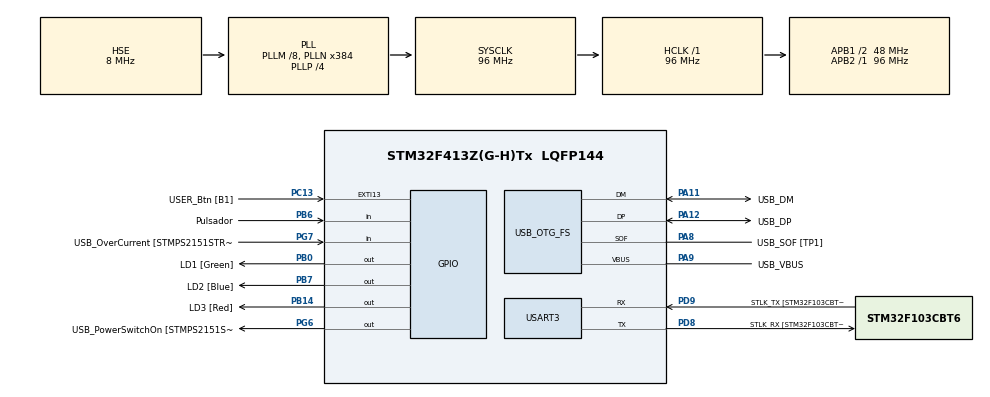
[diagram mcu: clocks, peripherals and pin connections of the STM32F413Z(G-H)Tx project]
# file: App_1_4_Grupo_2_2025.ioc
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Mcu.Family=STM32F4
Mcu.Name=STM32F413Z(G-H)Tx
Mcu.Package=LQFP144
NVIC.PriorityGroup=NVIC_PRIORITYGROUP_4
PA10.GPIO_Label=USB_ID
PA10.Signal=USB_OTG_FS_ID
PA11.GPIO_Label=USB_DM
PA11.Mode=Device_Only
PA11.Signal=USB_OTG_FS_DM
PA12.GPIO_Label=USB_DP
PA12.Mode=Device_Only
PA12.Signal=USB_OTG_FS_DP
PA13.GPIO_Label=TMS
PA13.Mode=Serial_Wire
PA13.Signal=SYS_JTMS-SWDIO
PA14.GPIO_Label=TCK
PA14.Mode=Serial_Wire
PA14.Signal=SYS_JTCK-SWCLK
PA8.GPIO_Label=USB_SOF [TP1]
PA8.Mode=Activate_SOF_FS
PA8.Signal=USB_OTG_FS_SOF
PA9.GPIO_Label=USB_VBUS
PA9.Mode=Activate_VBUS
PA9.Signal=USB_OTG_FS_VBUS
PB0.GPIO_Label=LD1 [Green]
PB0.Signal=GPIO_Output
PB14.GPIO_Label=LD3 [Red]
PB14.Signal=GPIO_Output
PB3.GPIO_Label=SWO
PB3.Signal=SYS_JTDO-SWO
PB6.GPIO_Label=Pulsador
PB6.Signal=GPIO_Input
PB7.GPIO_Label=LD2 [Blue]
PB7.Signal=GPIO_Output
PC13.GPIO_Label=USER_Btn [B1]
PC13.Signal=GPXTI13
PC14-OSC32_IN.Mode=LSE-External-Oscillator
PC14-OSC32_IN.Signal=RCC_OSC32_IN
PC15-OSC32_OUT.Mode=LSE-External-Oscillator
PC15-OSC32_OUT.Signal=RCC_OSC32_OUT
PD8.GPIO_Label=STLK_RX [STM32F103CBT6_PA3]
PD8.Mode=Asynchronous
PD8.Signal=USART3_TX
PD9.GPIO_Label=STLK_TX [STM32F103CBT6_PA2]
PD9.Mode=Asynchronous
PD9.Signal=USART3_RX
PG6.GPIO_Label=USB_PowerSwitchOn [STMPS2151STR_EN]
PG6.Signal=GPIO_Output
PG7.GPIO_Label=USB_OverCurrent [STMPS2151STR_FAULT]
PG7.Signal=GPIO_Input
PH0\ -\ OSC_IN.GPIO_Label=MCO
PH0\ -\ OSC_IN.Mode=HSE-External-Clock-Source
PH0\ -\ OSC_IN.Signal=RCC_OSC_IN
PH1\ -\ OSC_OUT.Mode=HSE-External-Clock-Source
PH1\ -\ OSC_OUT.Signal=RCC_OSC_OUT
ProjectManager.HeapSize=0x200
ProjectManager.StackSize=0x400
ProjectManager.TargetToolchain=STM32CubeIDE
RCC.48MHZClocksFreq_Value=24000000
RCC.AHBFreq_Value=96000000
RCC.APB1CLKDivider=RCC_HCLK_DIV2
RCC.APB1Freq_Value=48000000
RCC.APB1TimFreq_Value=96000000
RCC.APB2Freq_Value=96000000
RCC.APB2TimFreq_Value=96000000
RCC.CortexFreq_Value=96000000
RCC.HCLKFreq_Value=96000000
RCC.HSE_VALUE=8000000
RCC.HSI_VALUE=16000000
RCC.PLLM=8
RCC.PLLMUL=RCC_PLL_MUL9
RCC.PLLN=384
RCC.PLLP=RCC_PLLP_DIV4
RCC.PLLQ=8
RCC.PRESCALERUSB=RCC_USBCLKSOURCE_PLL_DIV1_5
RCC.SYSCLKFreq_VALUE=96000000
RCC.SYSCLKSource=RCC_SYSCLKSOURCE_PLLCLK
RCC.SYSCLKSourceVirtual=RCC_SYSCLKSOURCE_PLLCLK
RCC.USBFreq_Value=48000000
RCC.VCOOutputFreq_Value=384000000
USART3.VirtualMode=VM_ASYNC
USB_OTG_FS.VirtualMode=Device_Only
board=NUCLEO-F413ZH

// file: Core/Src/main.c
/* USER CODE BEGIN Header */
/**
  ******************************************************************************
  * @file           : main.c
  * @brief          : Main program body
  ******************************************************************************
  * @attention
  *
  * Copyright (c) 2025 STMicroelectronics.
  * All rights reserved.
  *
  * This software is licensed under terms that can be found in the LICENSE file
  * in the root directory of this software component.
  * If no LICENSE file comes with this software, it is provided AS-IS.
  *
  ******************************************************************************
  */
/* USER CODE END Header */
#include "main.h"

/* USER CODE BEGIN Includes */
uint8_t secuencia = 1;
/* USER CODE END Includes */

UART_HandleTypeDef huart3;

PCD_HandleTypeDef hpcd_USB_OTG_FS;

void SystemClock_Config(void);
static void MX_GPIO_Init(void);
static void MX_USART3_UART_Init(void);
static void MX_USB_OTG_FS_PCD_Init(void);

int main(void)
{

  /* MCU Configuration--------------------------------------------------------*/

  /* Reset of all peripherals, Initializes the Flash interface and the Systick. */
  HAL_Init();

  /* Configure the system clock */
  SystemClock_Config();

  /* Initialize all configured peripherals */
  MX_GPIO_Init();
  MX_USART3_UART_Init();
  MX_USB_OTG_FS_PCD_Init();

  /* Infinite loop */
  while (1)
  {

    /* USER CODE BEGIN 3 */
	  switch(secuencia){
	 	  	       case 1:HAL_GPIO_TogglePin(GPIOB, LD1_Pin|LD2_Pin|LD3_Pin);
	 	  	              HAL_Delay(100);
	 	  	              break;
	 	  	       case 2:HAL_GPIO_TogglePin(GPIOB, LD1_Pin|LD2_Pin|LD3_Pin);
	 	  	              HAL_Delay(250);
	 	  	              break;
	 	  	       case 3:HAL_GPIO_TogglePin(GPIOB, LD1_Pin|LD2_Pin|LD3_Pin);
	 	                  HAL_Delay(550);
	 	  	              break;
	 	  	       case 4:HAL_GPIO_TogglePin(GPIOB, LD1_Pin|LD2_Pin|LD3_Pin);
	                      HAL_Delay(1000);
	 	  	              break;
	                }
	 	  	if(HAL_GPIO_ReadPin(GPIOB, Pulsador_Pin) == GPIO_PIN_SET){
	 	  		  		  secuencia = secuencia  + 1;
	 	  		  		  HAL_Delay(200); //Eliminamos el rebote del pulsador
	 	  		  		  if(secuencia==5){
	 	  		  			    secuencia = 1;
	 	  		  			    HAL_GPIO_WritePin(GPIOB, LD1_Pin|LD2_Pin|LD3_Pin , GPIO_PIN_RESET);
	 	  		  		  }
	 	  		  }
  }
  /* USER CODE END 3 */
}

void SystemClock_Config(void)
{
  RCC_OscInitTypeDef RCC_OscInitStruct = {0};
  RCC_ClkInitTypeDef RCC_ClkInitStruct = {0};

  /** Configure the main internal regulator output voltage
  */
  __HAL_RCC_PWR_CLK_ENABLE();
  __HAL_PWR_VOLTAGESCALING_CONFIG(PWR_REGULATOR_VOLTAGE_SCALE1);

  /** Initializes the RCC Oscillators according to the specified parameters
  * in the RCC_OscInitTypeDef structure.
  */
  RCC_OscInitStruct.OscillatorType = RCC_OSCILLATORTYPE_HSE;
  RCC_OscInitStruct.HSEState = RCC_HSE_BYPASS;
  RCC_OscInitStruct.PLL.PLLState = RCC_PLL_ON;
  RCC_OscInitStruct.PLL.PLLSource = RCC_PLLSOURCE_HSE;
  RCC_OscInitStruct.PLL.PLLM = 8;
  RCC_OscInitStruct.PLL.PLLN = 384;
  RCC_OscInitStruct.PLL.PLLP = RCC_PLLP_DIV4;
  RCC_OscInitStruct.PLL.PLLQ = 8;
  RCC_OscInitStruct.PLL.PLLR = 2;
  if (HAL_RCC_OscConfig(&RCC_OscInitStruct) != HAL_OK)
  {
    Error_Handler();
  }

  /** Initializes the CPU, AHB and APB buses clocks
  */
  RCC_ClkInitStruct.ClockType = RCC_CLOCKTYPE_HCLK|RCC_CLOCKTYPE_SYSCLK
                              |RCC_CLOCKTYPE_PCLK1|RCC_CLOCKTYPE_PCLK2;
  RCC_ClkInitStruct.SYSCLKSource = RCC_SYSCLKSOURCE_PLLCLK;
  RCC_ClkInitStruct.AHBCLKDivider = RCC_SYSCLK_DIV1;
  RCC_ClkInitStruct.APB1CLKDivider = RCC_HCLK_DIV2;
  RCC_ClkInitStruct.APB2CLKDivider = RCC_HCLK_DIV1;

  if (HAL_RCC_ClockConfig(&RCC_ClkInitStruct, FLASH_LATENCY_3) != HAL_OK)
  {
    Error_Handler();
  }
}

static void MX_USART3_UART_Init(void)
{

  huart3.Instance = USART3;
  huart3.Init.BaudRate = 115200;
  huart3.Init.WordLength = UART_WORDLENGTH_8B;
  huart3.Init.StopBits = UART_STOPBITS_1;
  huart3.Init.Parity = UART_PARITY_NONE;
  huart3.Init.Mode = UART_MODE_TX_RX;
  huart3.Init.HwFlowCtl = UART_HWCONTROL_NONE;
  huart3.Init.OverSampling = UART_OVERSAMPLING_16;
  if (HAL_UART_Init(&huart3) != HAL_OK)
  {
    Error_Handler();
  }

}

static void MX_USB_OTG_FS_PCD_Init(void)
{

  hpcd_USB_OTG_FS.Instance = USB_OTG_FS;
  hpcd_USB_OTG_FS.Init.dev_endpoints = 6;
  hpcd_USB_OTG_FS.Init.speed = PCD_SPEED_FULL;
  hpcd_USB_OTG_FS.Init.dma_enable = DISABLE;
  hpcd_USB_OTG_FS.Init.phy_itface = PCD_PHY_EMBEDDED;
  hpcd_USB_OTG_FS.Init.Sof_enable = ENABLE;
  hpcd_USB_OTG_FS.Init.low_power_enable = DISABLE;
  hpcd_USB_OTG_FS.Init.lpm_enable = DISABLE;
  hpcd_USB_OTG_FS.Init.battery_charging_enable = ENABLE;
  hpcd_USB_OTG_FS.Init.vbus_sensing_enable = ENABLE;
  hpcd_USB_OTG_FS.Init.use_dedicated_ep1 = DISABLE;
  if (HAL_PCD_Init(&hpcd_USB_OTG_FS) != HAL_OK)
  {
    Error_Handler();
  }

}

static void MX_GPIO_Init(void)
{
  GPIO_InitTypeDef GPIO_InitStruct = {0};

  /* GPIO Ports Clock Enable */
  __HAL_RCC_GPIOC_CLK_ENABLE();
  __HAL_RCC_GPIOH_CLK_ENABLE();
  __HAL_RCC_GPIOB_CLK_ENABLE();
  __HAL_RCC_GPIOD_CLK_ENABLE();
  __HAL_RCC_GPIOG_CLK_ENABLE();
  __HAL_RCC_GPIOA_CLK_ENABLE();

  /*Configure GPIO pin Output Level */
  HAL_GPIO_WritePin(GPIOB, LD1_Pin|LD3_Pin|LD2_Pin, GPIO_PIN_RESET);

  /*Configure GPIO pin Output Level */
  HAL_GPIO_WritePin(USB_PowerSwitchOn_GPIO_Port, USB_PowerSwitchOn_Pin, GPIO_PIN_RESET);

  /*Configure GPIO pin : USER_Btn_Pin */
  GPIO_InitStruct.Pin = USER_Btn_Pin;
  GPIO_InitStruct.Mode = GPIO_MODE_IT_RISING;
  GPIO_InitStruct.Pull = GPIO_NOPULL;
  HAL_GPIO_Init(USER_Btn_GPIO_Port, &GPIO_InitStruct);

  /*Configure GPIO pins : LD1_Pin LD3_Pin LD2_Pin */
  GPIO_InitStruct.Pin = LD1_Pin|LD3_Pin|LD2_Pin;
  GPIO_InitStruct.Mode = GPIO_MODE_OUTPUT_PP;
  GPIO_InitStruct.Pull = GPIO_NOPULL;
  GPIO_InitStruct.Speed = GPIO_SPEED_FREQ_LOW;
  HAL_GPIO_Init(GPIOB, &GPIO_InitStruct);

  /*Configure GPIO pin : USB_PowerSwitchOn_Pin */
  GPIO_InitStruct.Pin = USB_PowerSwitchOn_Pin;
  GPIO_InitStruct.Mode = GPIO_MODE_OUTPUT_PP;
  GPIO_InitStruct.Pull = GPIO_NOPULL;
  GPIO_InitStruct.Speed = GPIO_SPEED_FREQ_LOW;
  HAL_GPIO_Init(USB_PowerSwitchOn_GPIO_Port, &GPIO_InitStruct);

  /*Configure GPIO pin : USB_OverCurrent_Pin */
  GPIO_InitStruct.Pin = USB_OverCurrent_Pin;
  GPIO_InitStruct.Mode = GPIO_MODE_INPUT;
  GPIO_InitStruct.Pull = GPIO_NOPULL;
  HAL_GPIO_Init(USB_OverCurrent_GPIO_Port, &GPIO_InitStruct);

  /*Configure GPIO pin : Pulsador_Pin */
  GPIO_InitStruct.Pin = Pulsador_Pin;
  GPIO_InitStruct.Mode = GPIO_MODE_INPUT;
  GPIO_InitStruct.Pull = GPIO_NOPULL;
  HAL_GPIO_Init(Pulsador_GPIO_Port, &GPIO_InitStruct);

}

void Error_Handler(void)
{
  __disable_irq();
  while (1)
  {
  }
}
